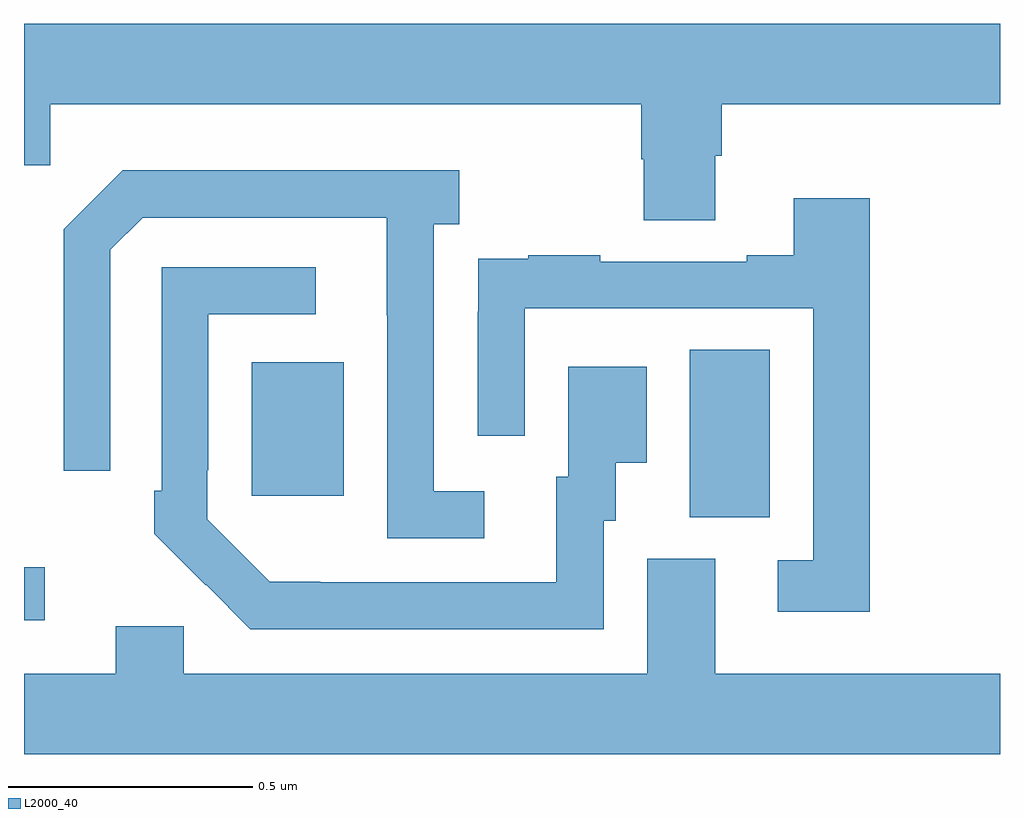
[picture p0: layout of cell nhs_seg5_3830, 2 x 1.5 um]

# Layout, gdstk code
import gdstk
lib = gdstk.Library(unit=1e-6, precision=1e-09)
def R(c, l, rs):  # rectangles x0, y0, x1, y1
    for r in rs: c.add(gdstk.rectangle(r[:2], r[2:], *l))
def P(c, l, *ps):  # polygons
    for p in ps: c.add(gdstk.Polygon(p, *l))
L2000_40 = (2000, 40)

nhs_seg5_3830 = lib.new_cell('nhs_seg5_3830')
R(nhs_seg5_3830, L2000_40, [(162,910.314,162.043,910.423), (163.364,910.525,163.528,910.868), (162.467,910.569,162.655,910.843)])
P(nhs_seg5_3830, L2000_40, [(163.417,911.266),(163.43,911.266),(163.43,911.372),(164,911.372),(164,911.536),(162,911.536),(162,911.246),(162.054,911.246),(162.054,911.372),(163.265,911.372),(163.265,911.259),(163.27,911.259),(163.27,911.134),(163.417,911.134)],
  [(162.943,910.578),(162.84,910.578),(162.84,911.126),(162.892,911.126),(162.892,911.236),(162.202,911.236),(162.081,911.115),(162.081,910.62),(162.177,910.62),(162.177,911.073),(162.243,911.139),(162.743,911.139),(162.743,910.939),(162.744,910.939),(162.744,910.482),(162.943,910.482)],
  [(163.733,911.179),(163.577,911.179),(163.577,911.062),(163.481,911.062),(163.481,911.049),(163.181,911.049),(163.181,911.062),(163.033,911.062),(163.033,911.055),(162.931,911.055),(162.931,910.946),(162.93,910.946),(162.93,910.692),(163.026,910.692),(163.026,910.953),(163.617,910.953),(163.617,910.437),(163.545,910.437),(163.545,910.332),(163.733,910.332)],
  [(163.188,910.518),(163.213,910.518),(163.213,910.637),(163.276,910.637),(163.276,910.834),(163.115,910.834),(163.115,910.608),(163.091,910.608),(163.091,910.392),(162.607,910.392),(162.607,910.393),(162.504,910.393),(162.375,910.521),(162.375,910.621),(162.378,910.621),(162.378,910.941),(162.598,910.941),(162.598,911.037),(162.282,911.037),(162.282,910.579),(162.267,910.579),(162.267,910.491),(162.372,910.386),(162.373,910.387),(162.464,910.296),(163.188,910.296)],
  [(164,910.204),(163.417,910.204),(163.417,910.44),(163.277,910.44),(163.277,910.204),(162.327,910.204),(162.327,910.302),(162.188,910.302),(162.188,910.204),(162,910.204),(162,910.04),(164,910.04)])

lib.write_gds('nhs_seg5_3830.gds')
